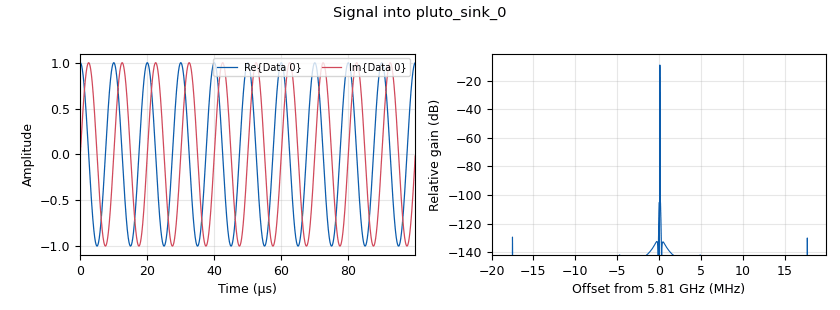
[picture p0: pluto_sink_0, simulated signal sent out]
<?xml version='1.0' encoding='utf-8'?>
<?grc format='1' created='3.7.10'?>
<flow_graph>
<block>
<key>options</key>
<param><key>id</key><value>top_block</value></param>
<param><key>generate_options</key><value>qt_gui</value></param>
</block>
<block>
<key>variable_qtgui_label</key>
<param><key>id</key><value>BlankSpacerToFormatTab</value></param>
<param><key>value</key><value>"  "</value></param>
<param><key>gui_hint</key><value>ControlTab@0:2,0,4,5</value></param>
<param><key>label</key><value>"  "</value></param>
<param><key>type</key><value>string</value></param>
</block>
<block>
<key>variable_qtgui_range</key>
<param><key>id</key><value>Center_freq</value></param>
<param><key>value</key><value>10819</value></param>
<param><key>gui_hint</key><value>ControlTab@0:0,0</value></param>
<param><key>label</key><value>Signal Freq (MHz)</value></param>
<param><key>min_len</key><value>10</value></param>
<param><key>orient</key><value>Qt.Horizontal</value></param>
<param><key>start</key><value>10000</value></param>
<param><key>step</key><value>0.1</value></param>
<param><key>stop</key><value>11000</value></param>
</block>
<block>
<key>variable_qtgui_range</key>
<param><key>id</key><value>Phase_Delta</value></param>
<param><key>value</key><value>0</value></param>
<param><key>gui_hint</key><value>ControlTab@1:0,1,1,5</value></param>
<param><key>orient</key><value>Qt.Horizontal</value></param>
<param><key>start</key><value>-199.6875</value></param>
<param><key>step</key><value>2.8125</value></param>
<param><key>stop</key><value>199.6875</value></param>
</block>
<block>
<key>variable_qtgui_label</key>
<param><key>id</key><value>Rx1</value></param>
<param><key>value</key><value>((Phase_Delta*0+Rx1_Cal) % 360)</value></param>
<param><key>gui_hint</key><value>ControlTab@1:1,0,1,1</value></param>
<param><key>type</key><value>int</value></param>
</block>
<block>
<key>variable_qtgui_range</key>
<param><key>id</key><value>Rx1_Cal</value></param>
<param><key>value</key><value>0</value></param>
<param><key>gui_hint</key><value>ControlTab@1:1,1,1,5</value></param>
<param><key>label</key><value>Rx1_Phase</value></param>
<param><key>orient</key><value>Qt.Horizontal</value></param>
<param><key>start</key><value>0</value></param>
<param><key>step</key><value>2.8125</value></param>
<param><key>stop</key><value>357.1875</value></param>
</block>
<block>
<key>variable_qtgui_label</key>
<param><key>id</key><value>Rx2</value></param>
<param><key>value</key><value>((Phase_Delta*1+Rx2_Cal) % 360)</value></param>
<param><key>gui_hint</key><value>ControlTab@1:2,0,1,1</value></param>
<param><key>type</key><value>int</value></param>
</block>
<block>
<key>variable_qtgui_range</key>
<param><key>id</key><value>Rx2_Cal</value></param>
<param><key>value</key><value>0</value></param>
<param><key>gui_hint</key><value>ControlTab@1:2,1,1,5</value></param>
<param><key>label</key><value>Rx2_Phase</value></param>
<param><key>orient</key><value>Qt.Horizontal</value></param>
<param><key>start</key><value>0</value></param>
<param><key>step</key><value>2.8125</value></param>
<param><key>stop</key><value>357.1875</value></param>
</block>
<block>
<key>variable_qtgui_label</key>
<param><key>id</key><value>Rx3</value></param>
<param><key>value</key><value>((Phase_Delta*2+Rx3_Cal) % 360)</value></param>
<param><key>gui_hint</key><value>ControlTab@1:3,0,1,1</value></param>
<param><key>type</key><value>int</value></param>
</block>
<block>
<key>variable_qtgui_range</key>
<param><key>id</key><value>Rx3_Cal</value></param>
<param><key>value</key><value>0</value></param>
<param><key>gui_hint</key><value>ControlTab@1:3,1,1,5</value></param>
<param><key>label</key><value>Rx3_Phase</value></param>
<param><key>orient</key><value>Qt.Horizontal</value></param>
<param><key>start</key><value>0</value></param>
<param><key>step</key><value>2.8125</value></param>
<param><key>stop</key><value>357.1875</value></param>
</block>
<block>
<key>variable_qtgui_label</key>
<param><key>id</key><value>Rx4</value></param>
<param><key>value</key><value>((Phase_Delta*3+Rx4_Cal) % 360)</value></param>
<param><key>gui_hint</key><value>ControlTab@1:4,0,1,1</value></param>
<param><key>type</key><value>int</value></param>
</block>
<block>
<key>variable_qtgui_range</key>
<param><key>id</key><value>Rx4_Cal</value></param>
<param><key>value</key><value>0</value></param>
<param><key>gui_hint</key><value>ControlTab@1:4,1,1,5</value></param>
<param><key>label</key><value>Rx4_Phase</value></param>
<param><key>orient</key><value>Qt.Horizontal</value></param>
<param><key>start</key><value>0</value></param>
<param><key>step</key><value>2.8125</value></param>
<param><key>stop</key><value>357.1875</value></param>
</block>
<block>
<key>variable_qtgui_range</key>
<param><key>id</key><value>RxGain</value></param>
<param><key>value</key><value>30</value></param>
<param><key>gui_hint</key><value>ControlTab@0:1,0</value></param>
<param><key>orient</key><value>Qt.Horizontal</value></param>
<param><key>start</key><value>0</value></param>
<param><key>step</key><value>1</value></param>
<param><key>stop</key><value>60</value></param>
</block>
<block>
<key>variable</key>
<param><key>id</key><value>TX_freq</value></param>
<param><key>value</key><value>5.81</value></param>
</block>
<block>
<key>variable</key>
<param><key>id</key><value>samp_rate</value></param>
<param><key>value</key><value>int(40000000)</value></param>
</block>
<block>
<key>epy_block</key>
<param><key>id</key><value>ADF5356_Freq</value></param>
<param><key>_source_code</key><value>"""
Embedded Python Blocks:

Each time this file is saved, GRC will instantiate the first class it finds
to get ports and parameters of your block. The arguments to __init__  will
be the parameters. All of them are required to have default values!
"""

import numpy as np
from gnuradio import gr
import time
import spidev
import RPi.GPIO as GPIO

class blk(gr.sync_block):  # other base classes are basic_block, decim_block, interp_block
    """Set ADF5356 Freq Using QT GUI variables"""

    def __init__(self, Signal=10.5):  # only default arguments here
        """arguments to this function show up as parameters in GRC"""
        gr.sync_block.__init__(
            self,
            name='ADF5356_Freq',   # this name will show up in GRC
            in_sig=[],             # normally this is [np.complex64] or something.  But we don't need any inputs for this block.
            out_sig=[np.complex64]      # We really don't need any outputs, but it complains if I leave both inputs and outputs as null.
        )
        self.Signal = Signal
        self.Change = 1
        self.current_freq = 0

        # It's best to toggle ADF5356 enable prior to startup.  Just to reset everything.
        GPIO.setwarnings(False)
        GPIO.PUD_UP
        GPIO.setmode(GPIO.BOARD)   # use the pin numbers (1-40) on the Rasp Pi header
        GPIO.setup(11, GPIO.OUT)   # set pin 11 (which BCM calls "GPIO 17") to an output
        GPIO.output(11, GPIO.LOW)
        time.sleep(1)
        GPIO.output(11, GPIO.HIGH)
        time.sleep(1)
        
        bus = 0      # We only have SPI bus 0 available to us on the Pi, so this is always 0
        device = 1   # Device is the chip select pin. "0" is being used by the ADAR1000, so this need to be "1" for the ADF5356's chip select
        self.spi = spidev.SpiDev()    # Enable SPI
        self.spi.open(bus, device)    # Open a connection to a specific bus and device (chip select pin)
        self.spi.max_speed_hz = 500000   # Set SPI speed
        self.spi.mode = 0                # Set SPI mode (ADF5356 is mode 0)
        
    def work(self, input_items, output_items):
        #output_items[0][:] = input_items[0] * 1
        time.sleep(2)   # we only need to check this sporadically.  So this does the check every 2 sec (instead of checking it repeatedly as fast possible!)
        def ADF5356_init():   # this function initializes the ADF5356.  It's overkill to call it every time we change freq, but that makes my setup more robust.
            self.spi.xfer2([0x00, 0x00, 0x00, 0x0D])   # R13 0x0D
            self.spi.xfer2([0x00, 0x00, 0x15, 0xFC])   # R12 0x15FC
            self.spi.xfer2([0x00, 0x61, 0x20, 0x0B])   # R11 0x61200B
            self.spi.xfer2([0x00, 0xC0, 0x26, 0xBA])   # R10 0xC026BA
            self.spi.xfer2([0x27, 0x19, 0xFC, 0xC9])   # R9  0x2719FCC9
            self.spi.xfer2([0x15, 0x59, 0x65, 0x68])   # R8  0x15596568
            self.spi.xfer2([0x06, 0x00, 0x00, 0xE7])   # R7  0x60000E7
            self.spi.xfer2([0x35, 0x03, 0x00, 0x06])   # R6  0x35030006
            self.spi.xfer2([0x00, 0x80, 0x00, 0x25])   # R5  0x800025
            self.spi.xfer2([0x32, 0x00, 0x8B, 0x84])   # R4  0x32008B84
            self.spi.xfer2([0x00, 0x00, 0x00, 0x03])   # R3  0x3
            print("ADF5356_init function")
            time.sleep(1)
            
        if self.current_freq != self.Signal:   # if the freq has changed then redo the init function and program the new freq
            self.Change = 1
        else:
            self.Change = 0

        if self.Change == 1:
            self.current_freq = self.Signal            
            ADF5356_init()
            for i in range(2):   # write the ADF5356 registers twice, just for error redundancy
                # Write registers to set freq to 9.5 GHz
                if self.Signal==9.5:
                    self.spi.xfer2([0x00, 0x08, 0x00, 0x32]) # R2     0x80032
                    self.spi.xfer2([0x04, 0xFA, 0xAA, 0xA1]) # R1     0x4FAAAA1
                    time.sleep(0.001)   # wait for ADC to settle
                    self.spi.xfer2([0x00, 0x20, 0x04, 0xD0]) # R0     0x2004D0
                    print("ADF5356 is set to 9.5 GHz")

                # Write registers to set freq to 10 GHz
                if self.Signal==10:
                    self.spi.xfer2([0x00, 0x04, 0x00, 0x32]) # R2  0x40032
                    self.spi.xfer2([0x06, 0x15, 0x55, 0x51]) # R1  0x6155551
                    time.sleep(0.001)   # wait for ADC to settle
                    self.spi.xfer2([0x00, 0x30, 0x05, 0x10]) # R0  0x300510
                    print("ADF5356 is set to 10 GHz")

                # Write registers to set freq to 10.5 GHz
                if self.Signal==10.5:
                    self.spi.xfer2([0x00, 0x00, 0x00, 0x12]) # R2     0x12
                    self.spi.xfer2([0x07, 0x30, 0x00, 0x01]) # R1     0x7300001
                    time.sleep(0.001)   # wait for ADC to settle
                    self.spi.xfer2([0x00, 0x20, 0x05, 0x50]) # R0     0x200550
                    print("ADF5356 is set to 10.5 GHz")

                # Write registers to set freq to 11 GHz
                if self.Signal==11:
                    self.spi.xfer2([0x00, 0x08, 0x00, 0x32]) # R2     0x80032
                    self.spi.xfer2([0x08, 0x4A, 0xAA, 0xA1]) # R1     0x84AAAA1
                    time.sleep(0.001)   # wait for ADC to settle
                    self.spi.xfer2([0x00, 0x20, 0x05, 0x90]) # R0     0x200590
                    print("ADF5356 is set to 11 GHz")

                # Power down the ADF5356
                if self.Signal==11.5:
                    self.spi.xfer2([0x00, 0x00, 0x00, 0x44])
                    print("ADF5356 is shutdown")
                    time.sleep(0.5)
                    
        return len(output_items[0])






</value></param>
<param><key>comment</key><value>Set ADF5356 Frequency
Based on Center_freq</value></param>
<param><key>_enabled</key><value>0</value></param>
<param><key>Signal</key><value>Center_freq/1000</value></param>
</block>
<block>
<key>qtgui_tab_widget</key>
<param><key>id</key><value>ControlTab</value></param>
<param><key>gui_hint</key><value>7,0, 7,7</value></param>
<param><key>label0</key><value>Pluto Control</value></param>
<param><key>label1</key><value>ADAR1000 Phase Control</value></param>
<param><key>num_tabs</key><value>2</value></param>
</block>
<block>
<key>analog_sig_source_x</key>
<param><key>id</key><value>analog_sig_source_x_1</value></param>
<param><key>amp</key><value>1</value></param>
<param><key>freq</key><value>int(100000)</value></param>
<param><key>offset</key><value>0</value></param>
<param><key>type</key><value>complex</value></param>
<param><key>samp_rate</key><value>samp_rate</value></param>
<param><key>waveform</key><value>analog.GR_COS_WAVE</value></param>
</block>
<block>
<key>blocks_null_sink</key>
<param><key>id</key><value>blocks_null_sink_0</value></param>
<param><key>bus_conns</key><value>[[0,],]</value></param>
<param><key>_enabled</key><value>0</value></param>
<param><key>type</key><value>complex</value></param>
</block>
<block>
<key>epy_block</key>
<param><key>id</key><value>epy_block_0</value></param>
<param><key>_source_code</key><value>"""
Embedded Python Blocks:  

Each time this file is saved, GRC will instantiate the first class it finds
to get ports and parameters of your block. The arguments to __init__  will
be the parameters. All of them are required to have default values!
"""

import numpy as np
import time
import spidev
from gnuradio import gr


class blk(gr.sync_block):  # other base classes are basic_block, decim_block, interp_block

    def __init__(self, PhaseDelta=45, SignalFreq=10525000000, UpdateRate=2, Rx1_Phase_Cal=0, Rx2_Phase_Cal=0, Rx3_Phase_Cal=0, Rx4_Phase_Cal=0):  # only default arguments here
        """arguments to this function show up as parameters in GRC"""
        gr.sync_block.__init__(
            self,
            name='Calculate Steering Angle',   # will show up in GRC
            in_sig=[],   # we have no flowgraph inputs to this block
            out_sig=[np.float32]   # we have one flowgraph output, which is the calculated steering angle
        )
        # if an attribute with the same name as a parameter is found,
        # a callback is registered (properties work, too).
        self.UpdateRate = UpdateRate
        self.PhaseDelta = PhaseDelta
        self.Rx1_Phase_Cal = Rx1_Phase_Cal
        self.Rx2_Phase_Cal = Rx2_Phase_Cal
        self.Rx3_Phase_Cal = Rx3_Phase_Cal
        self.Rx4_Phase_Cal = Rx4_Phase_Cal
               
        self.spi = spidev.SpiDev()
        self.spi.open(0, 0)  #set bus=0 and device=0
        self.spi.max_speed_hz = 500000
        self.spi.mode = 0
        
        self.c = 299792458    # speed of light in m/s
        self.d = 0.015        # element to element spacing of the antenna
        self.f = SignalFreq

    def work(self, input_items, output_items):
        # steering angle theta = arcsin(c*deltaphase/(2*pi*f*d)
        # if element spacing is lambda/2 then this simplifies to theta=arcsin(deltaphase(in radians)/pi)
        value1 = (self.c * np.radians(np.abs(self.PhaseDelta)))/(2*3.14159*self.f*self.d)
        clamped_value1 = max(min(1, value1), -1)     #arcsin argument must be between 1 and -1, or numpy will throw a warning
        theta = np.degrees(np.arcsin(clamped_value1))
        if self.PhaseDelta&gt;=0:
            SteerAngle = 90 + theta   # positive PhaseDelta covers 0deg to 90 deg
            Phase_A = (np.abs(self.PhaseDelta*0) + self.Rx4_Phase_Cal) % 360
            Phase_B = (np.abs(self.PhaseDelta*1) + self.Rx3_Phase_Cal) % 360
            Phase_C = (np.abs(self.PhaseDelta*2) + self.Rx2_Phase_Cal) % 360
            Phase_D = (np.abs(self.PhaseDelta*3) + self.Rx1_Phase_Cal) % 360
            channels = [Phase_D, Phase_C, Phase_B, Phase_A]  # if PhaseDelta is positive, then signal source is to the right, so Rx1 needs to be delayed the most
        else:
            SteerAngle = 90 - theta # negative phase delta covers 0 deg to -90 deg
            Phase_A = (np.abs(self.PhaseDelta*0) + self.Rx1_Phase_Cal) % 360
            Phase_B = (np.abs(self.PhaseDelta*1) + self.Rx2_Phase_Cal) % 360
            Phase_C = (np.abs(self.PhaseDelta*2) + self.Rx3_Phase_Cal) % 360
            Phase_D = (np.abs(self.PhaseDelta*3) + self.Rx4_Phase_Cal) % 360  
            channels = [Phase_A, Phase_B, Phase_C, Phase_D]  #  if PhaseDelta is negative, then signal source is to the left, so Rx4 needs to be delayed the most
       
        # The ADDR is set by the address pins on the ADAR1000.  This is set by P10 on the eval board.
        ADDR=0x20            # ADDR 0x20 is set by jumpering pins 4 and 6 on P10
        #ADDR=0x00           # ADDR 0x00 is set by leaving all jumpers off of P10
        
        # Write vector I and Q to set Rx1 (see Table 13 in ADAR1000 datasheet)
        i=1
                
        for Channel_Phase in channels:
            #Channel_Phase = self.Rx1_phase     # Which Rx phase control channel are we looking at?
            if i==1:
                I = 0x14   # Rx1_I vector register address = 0x14
                Q = 0x15   # Rx1_Q vector register address = 0x15
            if i==2:
                I = 0x16   # Rx2_I vector register address = 0x16
                Q = 0x17   # Rx2_Q vector register address = 0x17
            if i==3:
                I = 0x18   # Rx3_I vector register address = 0x18
                Q = 0x19   # Rx3_Q vector register address = 0x19
            if i==4:
                I = 0x1A   # Rx4_I vector register address = 0x1A
                Q = 0x1B   # Rx4_Q vector register address = 0x1B
            i = i+1
            
             # Quadrant 1
            if Channel_Phase==0:
                self.spi.xfer2([ADDR, I, 0x3F])
                self.spi.xfer2([ADDR, Q, 0x20])
            if Channel_Phase==2.8125:
                self.spi.xfer2([ADDR, I, 0x3F])
                self.spi.xfer2([ADDR, Q, 0x21])
            if Channel_Phase==5.625:
                self.spi.xfer2([ADDR, I, 0x3F])
                self.spi.xfer2([ADDR, Q, 0x23])
            if Channel_Phase==8.4375:
                self.spi.xfer2([ADDR, I, 0x3F])
                self.spi.xfer2([ADDR, Q, 0x24])
            if Channel_Phase==11.25:
                self.spi.xfer2([ADDR, I, 0x3F])
                self.spi.xfer2([ADDR, Q, 0x26])
            if Channel_Phase==14.0625:
                self.spi.xfer2([ADDR, I, 0x3E])
                self.spi.xfer2([ADDR, Q, 0x27])
            if Channel_Phase==16.875:
                self.spi.xfer2([ADDR, I, 0x3E])
                self.spi.xfer2([ADDR, Q, 0x28])
            if Channel_Phase==19.6875:
                self.spi.xfer2([ADDR, I, 0x3D])
                self.spi.xfer2([ADDR, Q, 0x2A])
            if Channel_Phase==22.5:
                self.spi.xfer2([ADDR, I, 0x3D])
                self.spi.xfer2([ADDR, Q, 0x2B])
            if Channel_Phase==25.3125:
                self.spi.xfer2([ADDR, I, 0x3C])
                self.spi.xfer2([ADDR, Q, 0x2D])
            if Channel_Phase==28.125:
                self.spi.xfer2([ADDR, I, 0x3C])
                self.spi.xfer2([ADDR, Q, 0x2E])
            if Channel_Phase==30.9375:
                self.spi.xfer2([ADDR, I, 0x3B])
                self.spi.xfer2([ADDR, Q, 0x2F])
            if Channel_Phase==33.75:
                self.spi.xfer2([ADDR, I, 0x3A])
                self.spi.xfer2([ADDR, Q, 0x30])
            if Channel_Phase==36.5625:
                self.spi.xfer2([ADDR, I, 0x39])
                self.spi.xfer2([ADDR, Q, 0x31])
            if Channel_Phase==39.375:
                self.spi.xfer2([ADDR, I, 0x38])
                self.spi.xfer2([ADDR, Q, 0x33])
            if Channel_Phase==42.1875:
                self.spi.xfer2([ADDR, I, 0x37])
                self.spi.xfer2([ADDR, Q, 0x34])
            if Channel_Phase==45:
                self.spi.xfer2([ADDR, I, 0x36])
                self.spi.xfer2([ADDR, Q, 0x35])
            if Channel_Phase==47.8125:
                self.spi.xfer2([ADDR, I, 0x35])
                self.spi.xfer2([ADDR, Q, 0x36])
            if Channel_Phase==50.625:
                self.spi.xfer2([ADDR, I, 0x34])
                self.spi.xfer2([ADDR, Q, 0x37])
            if Channel_Phase==53.4375:
                self.spi.xfer2([ADDR, I, 0x33])
                self.spi.xfer2([ADDR, Q, 0x38])
            if Channel_Phase==56.25:
                self.spi.xfer2([ADDR, I, 0x32])
                self.spi.xfer2([ADDR, Q, 0x38])
            if Channel_Phase==59.0625:
                self.spi.xfer2([ADDR, I, 0x30])
                self.spi.xfer2([ADDR, Q, 0x39])
            if Channel_Phase==61.875:
                self.spi.xfer2([ADDR, I, 0x2F])
                self.spi.xfer2([ADDR, Q, 0x3A])
            if Channel_Phase==64.6875:
                self.spi.xfer2([ADDR, I, 0x2E])
                self.spi.xfer2([ADDR, Q, 0x3A])
            if Channel_Phase==67.5:
                self.spi.xfer2([ADDR, I, 0x2C])
                self.spi.xfer2([ADDR, Q, 0x3B])
            if Channel_Phase==70.3125:
                self.spi.xfer2([ADDR, I, 0x2B])
                self.spi.xfer2([ADDR, Q, 0x3C])
            if Channel_Phase==73.125:
                self.spi.xfer2([ADDR, I, 0x2A])
                self.spi.xfer2([ADDR, Q, 0x3C])
            if Channel_Phase==75.9375:
                self.spi.xfer2([ADDR, I, 0x28])
                self.spi.xfer2([ADDR, Q, 0x3C])
            if Channel_Phase==78.75:
                self.spi.xfer2([ADDR, I, 0x27])
                self.spi.xfer2([ADDR, Q, 0x3D])
            if Channel_Phase==81.5625:
                self.spi.xfer2([ADDR, I, 0x25])
                self.spi.xfer2([ADDR, Q, 0x3D])
            if Channel_Phase==84.375:
                self.spi.xfer2([ADDR, I, 0x24])
                self.spi.xfer2([ADDR, Q, 0x3D])
            if Channel_Phase==87.1875:
                self.spi.xfer2([ADDR, I, 0x22])
                self.spi.xfer2([ADDR, Q, 0x3D])
                
        # Quadrant 2
            if Channel_Phase==90:
                self.spi.xfer2([ADDR, I, 0x21])
                self.spi.xfer2([ADDR, Q, 0x3D])
            if Channel_Phase==92.8125:
                self.spi.xfer2([ADDR, I, 0x01])
                self.spi.xfer2([ADDR, Q, 0x3D])
            if Channel_Phase==95.625:
                self.spi.xfer2([ADDR, I, 0x03])
                self.spi.xfer2([ADDR, Q, 0x3D])
            if Channel_Phase==98.4375:
                self.spi.xfer2([ADDR, I, 0x04])
                self.spi.xfer2([ADDR, Q, 0x3D])
            if Channel_Phase==101.25:
                self.spi.xfer2([ADDR, I, 0x06])
                self.spi.xfer2([ADDR, Q, 0x3D])
            if Channel_Phase==104.0625:
                self.spi.xfer2([ADDR, I, 0x07])
                self.spi.xfer2([ADDR, Q, 0x3C])
            if Channel_Phase==106.875:
                self.spi.xfer2([ADDR, I, 0x08])
                self.spi.xfer2([ADDR, Q, 0x3C])
            if Channel_Phase==109.6875:
                self.spi.xfer2([ADDR, I, 0x0A])
                self.spi.xfer2([ADDR, Q, 0x3C])
            if Channel_Phase==112.5:
                self.spi.xfer2([ADDR, I, 0x0B])
                self.spi.xfer2([ADDR, Q, 0x3B])
            if Channel_Phase==115.3125:
                self.spi.xfer2([ADDR, I, 0x0D])
                self.spi.xfer2([ADDR, Q, 0x3A])
            if Channel_Phase==118.125:
                self.spi.xfer2([ADDR, I, 0x0E])
                self.spi.xfer2([ADDR, Q, 0x3A])
            if Channel_Phase==120.9375:
                self.spi.xfer2([ADDR, I, 0x0F])
                self.spi.xfer2([ADDR, Q, 0x39])
            if Channel_Phase==123.75:
                self.spi.xfer2([ADDR, I, 0x11])
                self.spi.xfer2([ADDR, Q, 0x38])
            if Channel_Phase==126.5625:
                self.spi.xfer2([ADDR, I, 0x12])
                self.spi.xfer2([ADDR, Q, 0x38])
            if Channel_Phase==129.375:
                self.spi.xfer2([ADDR, I, 0x13])
                self.spi.xfer2([ADDR, Q, 0x37])
            if Channel_Phase==132.1875:
                self.spi.xfer2([ADDR, I, 0x14])
                self.spi.xfer2([ADDR, Q, 0x36])
            if Channel_Phase==135:
                self.spi.xfer2([ADDR, I, 0x16])
                self.spi.xfer2([ADDR, Q, 0x35])
            if Channel_Phase==137.8125:
                self.spi.xfer2([ADDR, I, 0x17])
                self.spi.xfer2([ADDR, Q, 0x34])
            if Channel_Phase==140.625:
                self.spi.xfer2([ADDR, I, 0x18])
                self.spi.xfer2([ADDR, Q, 0x33])
            if Channel_Phase==143.4375:
                self.spi.xfer2([ADDR, I, 0x19])
                self.spi.xfer2([ADDR, Q, 0x31])
            if Channel_Phase==146.25:
                self.spi.xfer2([ADDR, I, 0x19])
                self.spi.xfer2([ADDR, Q, 0x30])
            if Channel_Phase==149.0625:
                self.spi.xfer2([ADDR, I, 0x1A])
                self.spi.xfer2([ADDR, Q, 0x2F])
            if Channel_Phase==151.875:
                self.spi.xfer2([ADDR, I, 0x1B])
                self.spi.xfer2([ADDR, Q, 0x2E])
            if Channel_Phase==154.6875:
                self.spi.xfer2([ADDR, I, 0x1C])
                self.spi.xfer2([ADDR, Q, 0x2D])
            if Channel_Phase==157.5:
                self.spi.xfer2([ADDR, I, 0x1C])
                self.spi.xfer2([ADDR, Q, 0x2B])
            if Channel_Phase==160.3125:
                self.spi.xfer2([ADDR, I, 0x1D])
                self.spi.xfer2([ADDR, Q, 0x2A])
            if Channel_Phase==163.125:
                self.spi.xfer2([ADDR, I, 0X1E])
                self.spi.xfer2([ADDR, Q, 0x28])
            if Channel_Phase==165.9375:
                self.spi.xfer2([ADDR, I, 0x1E])
                self.spi.xfer2([ADDR, Q, 0x27])
            if Channel_Phase==168.75:
                self.spi.xfer2([ADDR, I, 0x1E])
                self.spi.xfer2([ADDR, Q, 0x26])
            if Channel_Phase==171.5625:
                self.spi.xfer2([ADDR, I, 0x1F])
                self.spi.xfer2([ADDR, Q, 0x24])
            if Channel_Phase==174.375:
                self.spi.xfer2([ADDR, I, 0x1F])
                self.spi.xfer2([ADDR, Q, 0x23])
            if Channel_Phase==177.1875:
                self.spi.xfer2([ADDR, I, 0x1F])
                self.spi.xfer2([ADDR, Q, 0x21])
                
        # Quadrant 3
            if Channel_Phase==180:
                self.spi.xfer2([ADDR, I, 0x1F])
                self.spi.xfer2([ADDR, Q, 0x20])
            if Channel_Phase==182.8125:
                self.spi.xfer2([ADDR, I, 0x1F])
                self.spi.xfer2([ADDR, Q, 0x20])
            if Channel_Phase==185.625:
                self.spi.xfer2([ADDR, I, 0x1F])
                self.spi.xfer2([ADDR, Q, 0x03])
            if Channel_Phase==188.4375:
                self.spi.xfer2([ADDR, I, 0x1F])
                self.spi.xfer2([ADDR, Q, 0x04])
            if Channel_Phase==191.25:
                self.spi.xfer2([ADDR, I, 0x1F])
                self.spi.xfer2([ADDR, Q, 0x06])
            if Channel_Phase==194.0625:
                self.spi.xfer2([ADDR, I, 0x1E])
                self.spi.xfer2([ADDR, Q, 0x07])
            if Channel_Phase==196.875:
                self.spi.xfer2([ADDR, I, 0x1E])
                self.spi.xfer2([ADDR, Q, 0x08])
            if Channel_Phase==199.6875:
                self.spi.xfer2([ADDR, I, 0x1D])
                self.spi.xfer2([ADDR, Q, 0x0A])
            if Channel_Phase==202.5:
                self.spi.xfer2([ADDR, I, 0x1D])
                self.spi.xfer2([ADDR, Q, 0x0B])
            if Channel_Phase==205.3125:
                self.spi.xfer2([ADDR, I, 0x1C])
                self.spi.xfer2([ADDR, Q, 0x0D])
            if Channel_Phase==208.125:
                self.spi.xfer2([ADDR, I, 0x1C])
                self.spi.xfer2([ADDR, Q, 0x0E])
            if Channel_Phase==210.9375:
                self.spi.xfer2([ADDR, I, 0x1B])
                self.spi.xfer2([ADDR, Q, 0x0F])
            if Channel_Phase==213.75:
                self.spi.xfer2([ADDR, I, 0x1A])
                self.spi.xfer2([ADDR, Q, 0x10])
            if Channel_Phase==216.5625:
                self.spi.xfer2([ADDR, I, 0x19])
                self.spi.xfer2([ADDR, Q, 0x11])
            if Channel_Phase==219.375:
                self.spi.xfer2([ADDR, I, 0x18])
                self.spi.xfer2([ADDR, Q, 0x13])
            if Channel_Phase==222.1875:
                self.spi.xfer2([ADDR, I, 0x17])
                self.spi.xfer2([ADDR, Q, 0x14])
            if Channel_Phase==225:
                self.spi.xfer2([ADDR, I, 0x16])
                self.spi.xfer2([ADDR, Q, 0x15])
            if Channel_Phase==227.8125:
                self.spi.xfer2([ADDR, I, 0x15])
                self.spi.xfer2([ADDR, Q, 0x16])
            if Channel_Phase==230.625:
                self.spi.xfer2([ADDR, I, 0x14])
                self.spi.xfer2([ADDR, Q, 0x17])
            if Channel_Phase==233.4375:
                self.spi.xfer2([ADDR, I, 0x13])
                self.spi.xfer2([ADDR, Q, 0x18])
            if Channel_Phase==236.25:
                self.spi.xfer2([ADDR, I, 0x12])
                self.spi.xfer2([ADDR, Q, 0x18])
            if Channel_Phase==239.0625:
                self.spi.xfer2([ADDR, I, 0x10])
                self.spi.xfer2([ADDR, Q, 0x19])
            if Channel_Phase==241.875:
                self.spi.xfer2([ADDR, I, 0x0F])
                self.spi.xfer2([ADDR, Q, 0x1A])
            if Channel_Phase==244.6875:
                self.spi.xfer2([ADDR, I, 0x0E])
                self.spi.xfer2([ADDR, Q, 0x1A])
            if Channel_Phase==247.5:
                self.spi.xfer2([ADDR, I, 0x0C])
                self.spi.xfer2([ADDR, Q, 0x1B])
            if Channel_Phase==250.3125:
                self.spi.xfer2([ADDR, I, 0x0B])
                self.spi.xfer2([ADDR, Q, 0x1C])
            if Channel_Phase==253.125:
                self.spi.xfer2([ADDR, I, 0x0A])
                self.spi.xfer2([ADDR, Q, 0x1C])
            if Channel_Phase==255.9375:
                self.spi.xfer2([ADDR, I, 0x08])
                self.spi.xfer2([ADDR, Q, 0x1C])
            if Channel_Phase==258.75:
                self.spi.xfer2([ADDR, I, 0x07])
                self.spi.xfer2([ADDR, Q, 0x1D])
            if Channel_Phase==261.5625:
                self.spi.xfer2([ADDR, I, 0x05])
                self.spi.xfer2([ADDR, Q, 0x1D])
            if Channel_Phase==264.375:
                self.spi.xfer2([ADDR, I, 0x04])
                self.spi.xfer2([ADDR, Q, 0x1D])
            if Channel_Phase==267.1875:
                self.spi.xfer2([ADDR, I, 0x02])
                self.spi.xfer2([ADDR, Q, 0x1D])
        
        # Quadrant 4
            if Channel_Phase==270:
                self.spi.xfer2([ADDR, I, 0x01])
                self.spi.xfer2([ADDR, Q, 0x1D])
            if Channel_Phase==272.8125:
                self.spi.xfer2([ADDR, I, 0x21])
                self.spi.xfer2([ADDR, Q, 0x1D])
            if Channel_Phase==275.625:
                self.spi.xfer2([ADDR, I, 0x23])
                self.spi.xfer2([ADDR, Q, 0x1D])
            if Channel_Phase==278.4375:
                self.spi.xfer2([ADDR, I, 0x24])
                self.spi.xfer2([ADDR, Q, 0x1D])
            if Channel_Phase==281.25:
                self.spi.xfer2([ADDR, I, 0x26])
                self.spi.xfer2([ADDR, Q, 0x1D])
            if Channel_Phase==284.0625:
                self.spi.xfer2([ADDR, I, 0x27])
                self.spi.xfer2([ADDR, Q, 0x1C])
            if Channel_Phase==286.875:
                self.spi.xfer2([ADDR, I, 0x28])
                self.spi.xfer2([ADDR, Q, 0x1C])
            if Channel_Phase==289.6875:
                self.spi.xfer2([ADDR, I, 0x2A])
                self.spi.xfer2([ADDR, Q, 0x1C])
            if Channel_Phase==292.5:
                self.spi.xfer2([ADDR, I, 0x2B])
                self.spi.xfer2([ADDR, Q, 0x1B])
            if Channel_Phase==295.3125:
                self.spi.xfer2([ADDR, I, 0x2D])
                self.spi.xfer2([ADDR, Q, 0x1A])
            if Channel_Phase==298.125:
                self.spi.xfer2([ADDR, I, 0x2E])
                self.spi.xfer2([ADDR, Q, 0x1A])
            if Channel_Phase==300.9375:
                self.spi.xfer2([ADDR, I, 0x2F])
                self.spi.xfer2([ADDR, Q, 0x19])
            if Channel_Phase==303.75:
                self.spi.xfer2([ADDR, I, 0x31])
                self.spi.xfer2([ADDR, Q, 0x18])
            if Channel_Phase==306.5625:
                self.spi.xfer2([ADDR, I, 0x32])
                self.spi.xfer2([ADDR, Q, 0x18])
            if Channel_Phase==309.375:
                self.spi.xfer2([ADDR, I, 0x33])
                self.spi.xfer2([ADDR, Q, 0x17])
            if Channel_Phase==312.1875:
                self.spi.xfer2([ADDR, I, 0x34])
                self.spi.xfer2([ADDR, Q, 0x16])
            if Channel_Phase==315:
                self.spi.xfer2([ADDR, I, 0x36])
                self.spi.xfer2([ADDR, Q, 0x15])
            if Channel_Phase==317.8125:
                self.spi.xfer2([ADDR, I, 0x37])
                self.spi.xfer2([ADDR, Q, 0x14])
            if Channel_Phase==320.625:
                self.spi.xfer2([ADDR, I, 0x38])
                self.spi.xfer2([ADDR, Q, 0x13])
            if Channel_Phase==323.4375:
                self.spi.xfer2([ADDR, I, 0x39])
                self.spi.xfer2([ADDR, Q, 0x11])
            if Channel_Phase==326.25:
                self.spi.xfer2([ADDR, I, 0x39])
                self.spi.xfer2([ADDR, Q, 0x10])
            if Channel_Phase==329.0625:
                self.spi.xfer2([ADDR, I, 0x3A])
                self.spi.xfer2([ADDR, Q, 0x0F])
            if Channel_Phase==331.875:
                self.spi.xfer2([ADDR, I, 0x3B])
                self.spi.xfer2([ADDR, Q, 0x0E])
            if Channel_Phase==334.6875:
                self.spi.xfer2([ADDR, I, 0x3C])
                self.spi.xfer2([ADDR, Q, 0x0D])
            if Channel_Phase==337.5:
                self.spi.xfer2([ADDR, I, 0x3C])
                self.spi.xfer2([ADDR, Q, 0x0B])
            if Channel_Phase==340.3125:
                self.spi.xfer2([ADDR, I, 0x3D])
                self.spi.xfer2([ADDR, Q, 0x0A])
            if Channel_Phase==343.125:
                self.spi.xfer2([ADDR, I, 0x3E])
                self.spi.xfer2([ADDR, Q, 0x08])
            if Channel_Phase==345.9375:
                self.spi.xfer2([ADDR, I, 0x3E])
                self.spi.xfer2([ADDR, Q, 0x07])
            if Channel_Phase==348.75:
                self.spi.xfer2([ADDR, I, 0x3E])
                self.spi.xfer2([ADDR, Q, 0x06])
            if Channel_Phase==351.5625:
                self.spi.xfer2([ADDR, I, 0x3F])
                self.spi.xfer2([ADDR, Q, 0x04])
            if Channel_Phase==354.375:
                self.spi.xfer2([ADDR, I, 0x3F])
                self.spi.xfer2([ADDR, Q, 0x03])
            if Channel_Phase==357.1875:
                self.spi.xfer2([ADDR, I, 0x3F])
                self.spi.xfer2([ADDR, Q, 0x01])
                
        #print("hello " + str(self.Rx1_phase))
        #self.count=self.count+1
        self.spi.xfer2([ADDR, 0x28, 0x01])  # Loads Rx vectors from SPI.
        time.sleep(self.UpdateRate)
        output_items[0][:] = SteerAngle * (-1) + 90
        
        return len(output_items[0])
</value></param>
<param><key>PhaseDelta</key><value>Phase_Delta</value></param>
<param><key>Rx1_Phase_Cal</key><value>Rx1_Cal</value></param>
<param><key>Rx2_Phase_Cal</key><value>Rx2_Cal</value></param>
<param><key>Rx3_Phase_Cal</key><value>Rx3_Cal</value></param>
<param><key>Rx4_Phase_Cal</key><value>Rx4_Cal</value></param>
<param><key>SignalFreq</key><value>int(Center_freq*1000000)</value></param>
<param><key>UpdateRate</key><value>0.1</value></param>
</block>
<block>
<key>epy_module</key>
<param><key>id</key><value>epy_module_0</value></param>
<param><key>source_code</key><value># this module will be imported in the into your flowgraph
# You can learn more about SPI and Rasp Pi at https://learn.sparkfun.com/tutorials/raspberry-pi-spi-and-i2c-tutorial/all#spi-on-pi

import time
import spidev

# We only have SPI bus 0 available to us on the Pi
bus = 0

#Device is the chip select pin. Set to 0 or 1, depending on the connections
device = 0

# Enable SPI
spi = spidev.SpiDev()

# Open a connection to a specific bus and device (chip select pin)
spi.open(bus, device)

# Set SPI speed and mode
spi.max_speed_hz = 500000
spi.mode = 0

# Rasp Pi Broadcom chip can only do 8 bit SPI writes.
# So the 24 bit SPI writes of the ADAR1000 need to be broken
# into 3 chunks.  Use the xfer2 command to keep CS low, until all 4 are there.

ADDR = 0x20

# Initialize the ADAR1000
spi.xfer2([ADDR, 0x00, 0x81])  # reset the device
spi.xfer2([ADDR, 0x00, 0x18])  # Sets SDO  pin to active (4 wire SPI)
spi.xfer2([ADDR+0x04, 0x00, 0x55])  # Trims LDO to 1.8V
spi.xfer2([ADDR, 0x38, 0x60])  # Bypasses beam and bias RAM (use SPI for gain/phase)
spi.xfer2([ADDR, 0x2E, 0x7F])  # Enables all 4 Rx channels, LNA, VGA, and Vector Mod
spi.xfer2([ADDR, 0x34, 0x08])  # Sets LNA bias to middle of its range
spi.xfer2([ADDR, 0x35, 0x16])  # Sets VGA bias to [0010] and vector mod bias to [110]
spi.xfer2([ADDR, 0x31, 0x20])  # Enables the whole Rx
time.sleep(0.1)

# Write registers to set Rx1-4 to 45 deg and Max Gain
spi.xfer2([ADDR, 0x10, 0xFF])  # Sets Rx1 to max gain
spi.xfer2([ADDR, 0x14, 0x36])  # Sets Rx1 I vector to positive and [10110]
spi.xfer2([ADDR, 0x15, 0x36])  # Sets Rx1 Q vector to positive and [10110]
spi.xfer2([ADDR, 0x11, 0xFF])  # Sets Rx2 to max gain
spi.xfer2([ADDR, 0x16, 0x36])  # Sets Rx2 I vector to positive and [10110]
spi.xfer2([ADDR, 0x17, 0x36])  # Sets Rx2 Q vector to positive and [10110]
spi.xfer2([ADDR, 0x12, 0xFF])  # Sets Rx3 to max gain
spi.xfer2([ADDR, 0x18, 0x36])  # Sets Rx3 I vector to positive and [10110]
spi.xfer2([ADDR, 0x19, 0x36])  # Sets Rx3 Q vector to positive and [10110]
spi.xfer2([ADDR, 0x13, 0xFF])  # Sets Rx4 to max gain
spi.xfer2([ADDR, 0x1A, 0x36])  # Sets Rx4 I vector to positive and [10110]
spi.xfer2([ADDR, 0x1B, 0x36])  # Sets Rx4 Q vector to positive and [10110]
  
spi.xfer2([ADDR, 0x28, 0x01])  # Loads Rx vectors from SPI.
time.sleep(0.1)

# Power down the ADAR1000
#spi.xfer2([ADDR, 0x00, 0x81])  # reset the device
#spi.xfer2([ADDR, 0x00, 0x18])  # Sets SDO  pin to active (4 wire SPI)
#spi.xfer2([ADDR+0x04, 0x00, 0x55])  # Trims LDO to 1.8V



</value></param>
<param><key>comment</key><value>Initialize the ADAR1000</value></param>
</block>
<block>
<key>pluto_sink</key>
<param><key>id</key><value>pluto_sink_0</value></param>
<param><key>attenuation</key><value>3</value></param>
<param><key>buffer_size</key><value>int(2**16)</value></param>
<param><key>cyclic</key><value>True</value></param>
<param><key>auto_filter</key><value>True</value></param>
<param><key>filter</key><value></value></param>
<param><key>uri</key><value></value></param>
<param><key>frequency</key><value>int(TX_freq*1000000000)</value></param>
<param><key>bandwidth</key><value>300000</value></param>
<param><key>samplerate</key><value>int(samp_rate)</value></param>
</block>
<block>
<key>pluto_source</key>
<param><key>id</key><value>pluto_source_0</value></param>
<param><key>bbdc</key><value>True</value></param>
<param><key>buffer_size</key><value>int(2**10)</value></param>
<param><key>uri</key><value></value></param>
<param><key>auto_filter</key><value>True</value></param>
<param><key>filter</key><value></value></param>
<param><key>gain</key><value>"manual"</value></param>
<param><key>frequency</key><value>int((Center_freq/1000-TX_freq)*1000000000)</value></param>
<param><key>manual_gain</key><value>int(RxGain)</value></param>
<param><key>quadrature</key><value>False</value></param>
<param><key>rfdc</key><value>True</value></param>
<param><key>bandwidth</key><value>int(samp_rate/4)</value></param>
<param><key>samplerate</key><value>int(samp_rate)</value></param>
</block>
<block>
<key>qtgui_number_sink</key>
<param><key>id</key><value>qtgui_number_sink_0</value></param>
<param><key>gui_hint</key><value>5, 2, 1, 4</value></param>
<param><key>graph_type</key><value>qtgui.NUM_GRAPH_HORIZ</value></param>
<param><key>type</key><value>float</value></param>
<param><key>label1</key><value>   </value></param>
<param><key>unit1</key><value>deg</value></param>
<param><key>max</key><value>90</value></param>
<param><key>min</key><value>-90</value></param>
<param><key>name</key><value>SteeringAngle</value></param>
<param><key>update_time</key><value>0.1</value></param>
</block>
<block>
<key>qtgui_sink_x</key>
<param><key>id</key><value>qtgui_sink_x_0</value></param>
<param><key>bw</key><value>int(samp_rate)</value></param>
<param><key>fc</key><value>int(Center_freq*1000000)</value></param>
<param><key>freqchangevar</key><value>None</value></param>
<param><key>fftsize</key><value>1024</value></param>
<param><key>gui_hint</key><value>0, 0, 6, 8</value></param>
<param><key>plotwaterfall</key><value>False</value></param>
<param><key>showports</key><value>True</value></param>
<param><key>type</key><value>complex</value></param>
<param><key>wintype</key><value>firdes.WIN_BLACKMAN_hARRIS</value></param>
</block>
<connection><source_block_id>ADF5356_Freq</source_block_id><sink_block_id>blocks_null_sink_0</sink_block_id><source_key>0</source_key><sink_key>0</sink_key></connection>
<connection><source_block_id>analog_sig_source_x_1</source_block_id><sink_block_id>pluto_sink_0</sink_block_id><source_key>0</source_key><sink_key>0</sink_key></connection>
<connection><source_block_id>epy_block_0</source_block_id><sink_block_id>qtgui_number_sink_0</sink_block_id><source_key>0</source_key><sink_key>0</sink_key></connection>
<connection><source_block_id>pluto_source_0</source_block_id><sink_block_id>qtgui_sink_x_0</sink_block_id><source_key>0</source_key><sink_key>0</sink_key></connection>
</flow_graph>
